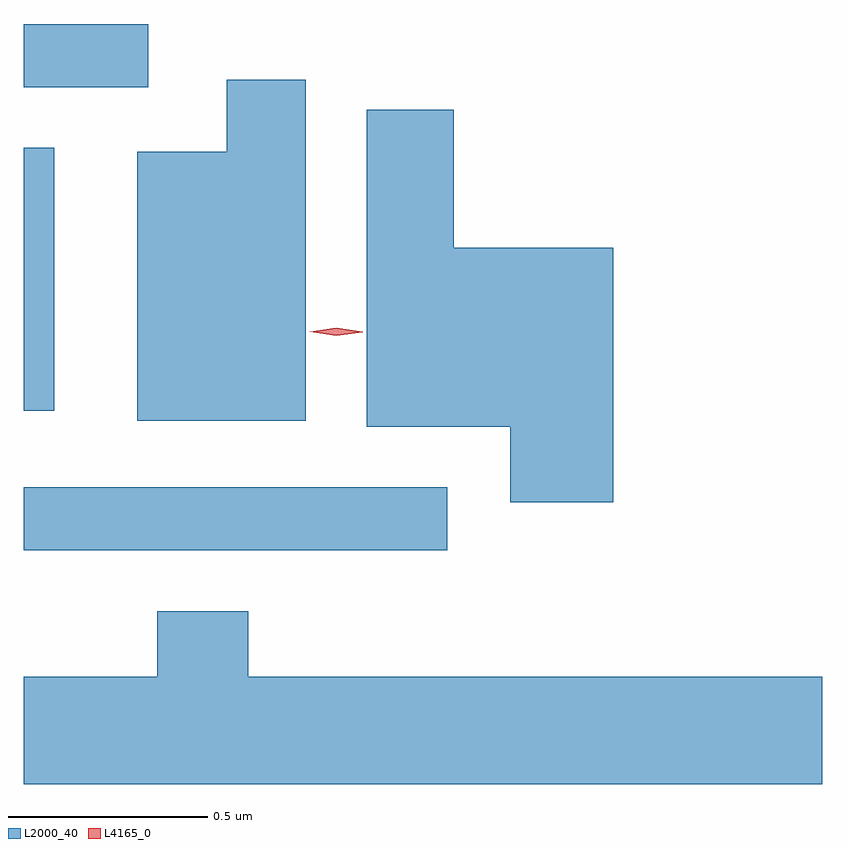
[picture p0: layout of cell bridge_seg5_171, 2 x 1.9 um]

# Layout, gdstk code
import gdstk
lib = gdstk.Library(unit=1e-6, precision=1e-09)
def R(c, l, rs):  # rectangles x0, y0, x1, y1
    for r in rs: c.add(gdstk.rectangle(r[:2], r[2:], *l))
def P(c, l, *ps):  # polygons
    for p in ps: c.add(gdstk.Polygon(p, *l))
L2000_40 = (2000, 40)
L4165_0 = (4165, 0)

bridge_seg5_171 = lib.new_cell('bridge_seg5_171')
R(bridge_seg5_171, L2000_40, [(1191.587,1437.401,1192.648,1437.559), (1191.587,1437.751,1191.664,1438.409), (1191.587,1438.561,1191.899,1438.719)])
P(bridge_seg5_171, L2000_40, [(1192.294,1438.579),(1192.096,1438.579),(1192.096,1438.399),(1191.871,1438.399),(1191.871,1437.726),(1192.294,1437.726)],
  [(1193.064,1438.159),(1192.664,1438.159),(1192.664,1438.504),(1192.446,1438.504),(1192.446,1437.711),(1192.806,1437.711),(1192.806,1437.521),(1193.064,1437.521)],
  [(1193.587,1437.084),(1192.149,1437.084),(1192.149,1437.249),(1191.921,1437.249),(1191.921,1437.084),(1191.587,1437.084),(1191.587,1436.816),(1193.587,1436.816)])
P(bridge_seg5_171, L4165_0, [(1192.37,1437.938),(1192.304,1437.948),(1192.303,1437.949),(1192.304,1437.949),(1192.37,1437.958),(1192.436,1437.948),(1192.436,1437.948),(1192.436,1437.947)])

lib.write_gds('bridge_seg5_171.gds')
